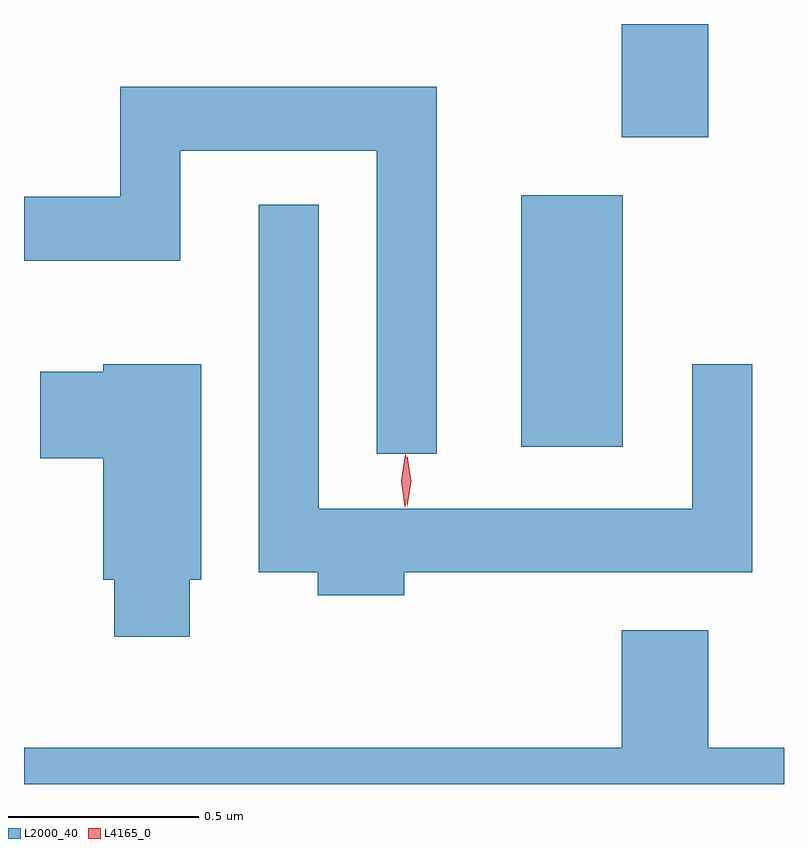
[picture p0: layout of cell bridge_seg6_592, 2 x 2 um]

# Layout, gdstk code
import gdstk
lib = gdstk.Library(unit=1e-6, precision=1e-09)
def R(c, l, rs):  # rectangles x0, y0, x1, y1
    for r in rs: c.add(gdstk.rectangle(r[:2], r[2:], *l))
def P(c, l, *ps):  # polygons
    for p in ps: c.add(gdstk.Polygon(p, *l))
L2000_40 = (2000, 40)
L4165_0 = (4165, 0)

bridge_seg6_592 = lib.new_cell('bridge_seg6_592')
R(bridge_seg6_592, L2000_40, [(440.216,1664.316,440.484,1664.979), (440.481,1665.131,440.709,1665.429)])
P(bridge_seg6_592, L2000_40, [(439.994,1665.264),(439.161,1665.264),(439.161,1664.974),(438.908,1664.974),(438.908,1664.806),(439.319,1664.806),(439.319,1665.096),(439.836,1665.096),(439.836,1664.298),(439.994,1664.298)],
  [(439.909,1663.986),(440.824,1663.986),(440.824,1664.533),(440.666,1664.533),(440.666,1664.154),(439.684,1664.154),(439.684,1664.953),(439.526,1664.953),(439.526,1663.986),(439.681,1663.986),(439.681,1663.926),(439.909,1663.926)],
  [(439.344,1663.966),(439.374,1663.966),(439.374,1664.534),(439.116,1664.534),(439.116,1664.514),(438.951,1664.514),(438.951,1664.286),(439.116,1664.286),(439.116,1663.966),(439.146,1663.966),(439.146,1663.816),(439.344,1663.816)],
  [(440.908,1663.524),(440.709,1663.524),(440.709,1663.834),(440.481,1663.834),(440.481,1663.524),(438.908,1663.524),(438.908,1663.429),(440.908,1663.429)])
P(bridge_seg6_592, L4165_0, [(439.911,1664.157),(439.91,1664.158),(439.901,1664.227),(439.911,1664.296),(439.911,1664.296),(439.912,1664.296),(439.921,1664.227),(439.911,1664.158)],
  [(439.917,1664.159),(439.916,1664.16),(439.907,1664.226),(439.916,1664.293),(439.917,1664.293),(439.917,1664.293),(439.927,1664.226),(439.917,1664.16)])

lib.write_gds('bridge_seg6_592.gds')
